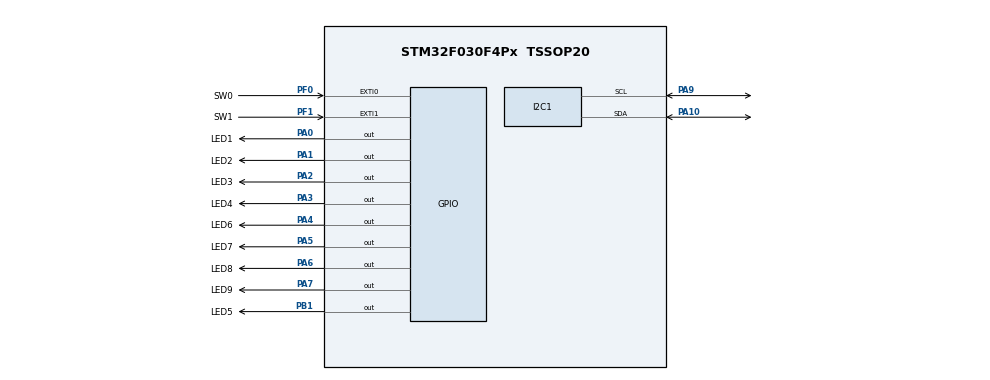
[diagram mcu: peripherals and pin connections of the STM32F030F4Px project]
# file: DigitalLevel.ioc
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Mcu.Family=STM32F0
Mcu.Name=STM32F030F4Px
Mcu.Package=TSSOP20
NVIC.EXTI0_1_IRQn=true\:0\:0\:false\:false\:true\:true\:true
PA0.GPIO_Label=LED1
PA0.Signal=GPIO_Output
PA1.GPIO_Label=LED2
PA1.Signal=GPIO_Output
PA10.Mode=I2C
PA10.Signal=I2C1_SDA
PA13.Mode=Serial_Wire
PA13.Signal=SYS_SWDIO
PA14.Mode=Serial_Wire
PA14.Signal=SYS_SWCLK
PA2.GPIO_Label=LED3
PA2.Signal=GPIO_Output
PA3.GPIO_Label=LED4
PA3.Signal=GPIO_Output
PA4.GPIO_Label=LED6
PA4.Signal=GPIO_Output
PA5.GPIO_Label=LED7
PA5.Signal=GPIO_Output
PA6.GPIO_Label=LED8
PA6.Signal=GPIO_Output
PA7.GPIO_Label=LED9
PA7.Signal=GPIO_Output
PA9.Mode=I2C
PA9.Signal=I2C1_SCL
PB1.GPIO_Label=LED5
PB1.Signal=GPIO_Output
PF0-OSC_IN.GPIO_Label=SW0
PF0-OSC_IN.GPIO_PuPd=GPIO_PULLDOWN
PF0-OSC_IN.Signal=GPXTI0
PF1-OSC_OUT.GPIO_Label=SW1
PF1-OSC_OUT.GPIO_PuPd=GPIO_PULLDOWN
PF1-OSC_OUT.Signal=GPXTI1
ProjectManager.HeapSize=0x200
ProjectManager.StackSize=0x400
ProjectManager.TargetToolchain=STM32CubeIDE
board=custom

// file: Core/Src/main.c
/* USER CODE BEGIN Header */
/**
  ******************************************************************************
  * @file           : main.c
  * @brief          : Main program body
  ******************************************************************************
  * @attention
  *
  * <h2><center>&copy; Copyright (c) 2020 STMicroelectronics.
  * All rights reserved.</center></h2>
  *
  * This software component is licensed by ST under BSD 3-Clause license,
  * the "License"; You may not use this file except in compliance with the
  * License. You may obtain a copy of the License at:
  *                        opensource.org/licenses/BSD-3-Clause
  *
  ******************************************************************************
  */
/* USER CODE END Header */
#include "main.h"

/* USER CODE BEGIN Includes */
#include "accelerometer.h"
#include "led.h"
/* USER CODE END Includes */

I2C_HandleTypeDef hi2c1;

/* USER CODE BEGIN PV */

volatile uint32_t delay;
volatile uint8_t direction;
volatile uint8_t state;
volatile uint8_t accel_range;
volatile uint8_t activeAxis;
volatile int8_t sens_gain = 2;

/* USER CODE END PV */

void SystemClock_Config(void);
static void MX_GPIO_Init(void);
static void MX_I2C1_Init(void);

/* USER CODE BEGIN 0 */

void HAL_GPIO_EXTI_Callback(uint16_t GPIO_Pin){

	// don't need to check if readPin is high, it had to be to even get here
	if (GPIO_Pin == GPIO_PIN_0){
		// SW1 (shared with accel INT jumper)
		// adjust the delay/update rate
//		if (delay < 100){
//			delay = 100;
//		}else{
//			delay = 20;
//		}

		// adjust the LED sensitivity gain and blink the nth LED to show gain multiplier
		sens_gain*=2;
		if (sens_gain > 8){
			sens_gain = 1;
		}
		LED_disableAll();
		LED_blink_withDelay(sens_gain, 2, 200);

	}

	if (GPIO_Pin == GPIO_PIN_1) {
		// SW2
		// If jumper is set for ACCEL interrupts
		// this pin will go high indicating an interrupt was triggered on INT1
		uint8_t check = ACCEL_readReg(&hi2c1, 0x30); // read INT_SOURCE reg
		uint8_t dummy = check;
		// LED_blink_withDelay(9, 3, 100);
	}
}

/* USER CODE END 0 */

int main(void)
{

  /* MCU Configuration--------------------------------------------------------*/

  /* Reset of all peripherals, Initializes the Flash interface and the Systick. */
  HAL_Init();

  /* Configure the system clock */
  SystemClock_Config();

  /* Initialize all configured peripherals */
  MX_GPIO_Init();
  MX_I2C1_Init();

  /* Infinite loop */
  /* USER CODE BEGIN WHILE */
  delay = 100;
  direction = 0;
  state = 0;
  accel_range = 0;

  uint8_t check;
  ACCEL_verifyI2C(&hi2c1, ADXL343_ADDRESS, (uint8_t) 0, (uint8_t) 0xE5);
  ACCEL_setFullRes(&hi2c1, 0);
  ACCEL_setRange(&hi2c1, 0);
  ACCEL_enableMeasurements(&hi2c1);
  ACCEL_setTapThreshold(&hi2c1, 2, 2); // 4 * 62.5mg, 4*625us duration
  ACCEL_setTapAxes(&hi2c1, 1, 1, 1, 1);
  ACCEL_enableInterrupts(&hi2c1, 0, 1);

  check = ACCEL_readReg(&hi2c1, 0x2E); // INT_EN register
  check = ACCEL_readReg(&hi2c1, 0x1D); // THRES_TAP register

  LED_disableAll();

  activeAxis = ACCEL_X_ID;
  int8_t led;
  float g;
  uint8_t blink = 0;
  while (1)
    {
    /* USER CODE END WHILE */

    /* USER CODE BEGIN 3 */

  	  if (activeAxis == ACCEL_X_ID){
  		  g = ACCEL_getX(&hi2c1);
  	  }else if (activeAxis == ACCEL_Y_ID){
  		  g = ACCEL_getY(&hi2c1);
  	  }

  	  // LED position calc
  	  // center led + (g * num LEDs per side)
  	  led = 5 + (g*4*sens_gain);
  	  if (led > 9){
  		  led = 9;
  		  blink = 1;
  	  } else if (led < 1){
  		  led = 1;
  		  blink = 1;
  	  } else{
  		  blink = 0;
  	  }
  	  if (blink){
  		  LED_blink_withDelay(led, 2, 100);
  	  } else {
  		  LED_writeState(led, 1);
  	  }

  	  HAL_Delay(delay);
      LED_disableAll();

  }
  /* USER CODE END 3 */
}

void SystemClock_Config(void)
{
  RCC_OscInitTypeDef RCC_OscInitStruct = {0};
  RCC_ClkInitTypeDef RCC_ClkInitStruct = {0};
  RCC_PeriphCLKInitTypeDef PeriphClkInit = {0};

  /** Initializes the RCC Oscillators according to the specified parameters
  * in the RCC_OscInitTypeDef structure.
  */
  RCC_OscInitStruct.OscillatorType = RCC_OSCILLATORTYPE_HSI;
  RCC_OscInitStruct.HSIState = RCC_HSI_ON;
  RCC_OscInitStruct.HSICalibrationValue = RCC_HSICALIBRATION_DEFAULT;
  RCC_OscInitStruct.PLL.PLLState = RCC_PLL_NONE;
  if (HAL_RCC_OscConfig(&RCC_OscInitStruct) != HAL_OK)
  {
    Error_Handler();
  }
  /** Initializes the CPU, AHB and APB buses clocks
  */
  RCC_ClkInitStruct.ClockType = RCC_CLOCKTYPE_HCLK|RCC_CLOCKTYPE_SYSCLK
                              |RCC_CLOCKTYPE_PCLK1;
  RCC_ClkInitStruct.SYSCLKSource = RCC_SYSCLKSOURCE_HSI;
  RCC_ClkInitStruct.AHBCLKDivider = RCC_SYSCLK_DIV1;
  RCC_ClkInitStruct.APB1CLKDivider = RCC_HCLK_DIV1;

  if (HAL_RCC_ClockConfig(&RCC_ClkInitStruct, FLASH_LATENCY_0) != HAL_OK)
  {
    Error_Handler();
  }
  PeriphClkInit.PeriphClockSelection = RCC_PERIPHCLK_I2C1;
  PeriphClkInit.I2c1ClockSelection = RCC_I2C1CLKSOURCE_HSI;
  if (HAL_RCCEx_PeriphCLKConfig(&PeriphClkInit) != HAL_OK)
  {
    Error_Handler();
  }
}

static void MX_I2C1_Init(void)
{

  hi2c1.Instance = I2C1;
  hi2c1.Init.Timing = 0x2000090E;
  hi2c1.Init.OwnAddress1 = 0;
  hi2c1.Init.AddressingMode = I2C_ADDRESSINGMODE_7BIT;
  hi2c1.Init.DualAddressMode = I2C_DUALADDRESS_DISABLE;
  hi2c1.Init.OwnAddress2 = 0;
  hi2c1.Init.OwnAddress2Masks = I2C_OA2_NOMASK;
  hi2c1.Init.GeneralCallMode = I2C_GENERALCALL_DISABLE;
  hi2c1.Init.NoStretchMode = I2C_NOSTRETCH_DISABLE;
  if (HAL_I2C_Init(&hi2c1) != HAL_OK)
  {
    Error_Handler();
  }
  /** Configure Analogue filter
  */
  if (HAL_I2CEx_ConfigAnalogFilter(&hi2c1, I2C_ANALOGFILTER_ENABLE) != HAL_OK)
  {
    Error_Handler();
  }
  /** Configure Digital filter
  */
  if (HAL_I2CEx_ConfigDigitalFilter(&hi2c1, 0) != HAL_OK)
  {
    Error_Handler();
  }

}

static void MX_GPIO_Init(void)
{
  GPIO_InitTypeDef GPIO_InitStruct = {0};

  /* GPIO Ports Clock Enable */
  __HAL_RCC_GPIOF_CLK_ENABLE();
  __HAL_RCC_GPIOA_CLK_ENABLE();
  __HAL_RCC_GPIOB_CLK_ENABLE();

  /*Configure GPIO pin Output Level */
  HAL_GPIO_WritePin(GPIOA, LED1_Pin|LED2_Pin|LED3_Pin|LED4_Pin
                          |LED6_Pin|LED7_Pin|LED8_Pin|LED9_Pin, GPIO_PIN_RESET);

  /*Configure GPIO pin Output Level */
  HAL_GPIO_WritePin(LED5_GPIO_Port, LED5_Pin, GPIO_PIN_RESET);

  /*Configure GPIO pins : SW0_Pin SW1_Pin */
  GPIO_InitStruct.Pin = SW0_Pin|SW1_Pin;
  GPIO_InitStruct.Mode = GPIO_MODE_IT_RISING;
  GPIO_InitStruct.Pull = GPIO_PULLDOWN;
  HAL_GPIO_Init(GPIOF, &GPIO_InitStruct);

  /*Configure GPIO pins : LED1_Pin LED2_Pin LED3_Pin LED4_Pin
                           LED6_Pin LED7_Pin LED8_Pin LED9_Pin */
  GPIO_InitStruct.Pin = LED1_Pin|LED2_Pin|LED3_Pin|LED4_Pin
                          |LED6_Pin|LED7_Pin|LED8_Pin|LED9_Pin;
  GPIO_InitStruct.Mode = GPIO_MODE_OUTPUT_PP;
  GPIO_InitStruct.Pull = GPIO_NOPULL;
  GPIO_InitStruct.Speed = GPIO_SPEED_FREQ_LOW;
  HAL_GPIO_Init(GPIOA, &GPIO_InitStruct);

  /*Configure GPIO pin : LED5_Pin */
  GPIO_InitStruct.Pin = LED5_Pin;
  GPIO_InitStruct.Mode = GPIO_MODE_OUTPUT_PP;
  GPIO_InitStruct.Pull = GPIO_NOPULL;
  GPIO_InitStruct.Speed = GPIO_SPEED_FREQ_LOW;
  HAL_GPIO_Init(LED5_GPIO_Port, &GPIO_InitStruct);

  /* EXTI interrupt init*/
  HAL_NVIC_SetPriority(EXTI0_1_IRQn, 1, 0);
  HAL_NVIC_EnableIRQ(EXTI0_1_IRQn);

}

void Error_Handler(void)
{
}

/************************ (C) COPYRIGHT STMicroelectronics *****END OF FILE****/
